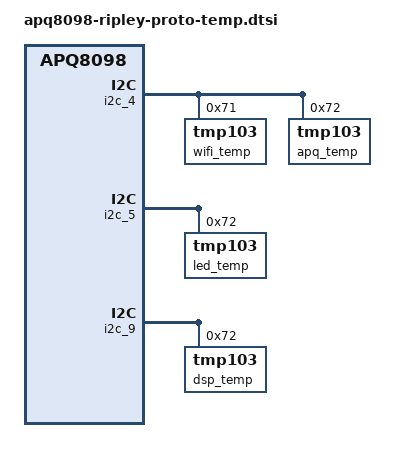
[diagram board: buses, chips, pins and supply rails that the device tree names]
/* Copyright (c) 2018, Facebook Inc. All rights reserved.
 *
 * This program is free software; you can redistribute it and/or modify
 * it under the terms of the GNU General Public License version 2 and
 * only version 2 as published by the Free Software Foundation.
 *
 * This program is distributed in the hope that it will be useful,
 * but WITHOUT ANY WARRANTY; without even the implied warranty of
 * MERCHANTABILITY or FITNESS FOR A PARTICULAR PURPOSE.  See the
 * GNU General Public License for more details.
 */


&i2c_4 {
	tmp103b@0x71 {
		compatible = "tmp103";
		reg = <0x71>;
		label = "wifi_temp";
	};

	tmp103c@0x72 {
		compatible = "tmp103";
		reg = <0x72>;
		label = "apq_temp";
	};
};


&i2c_5 {
	tmp103c@0x72 {
		compatible = "tmp103";
		reg = <0x72>;
		label = "led_temp";
	};
};


&i2c_9 {
	tmp103c@0x72 {
		compatible = "tmp103";
		reg = <0x72>;
		label = "dsp_temp";
	};
};
